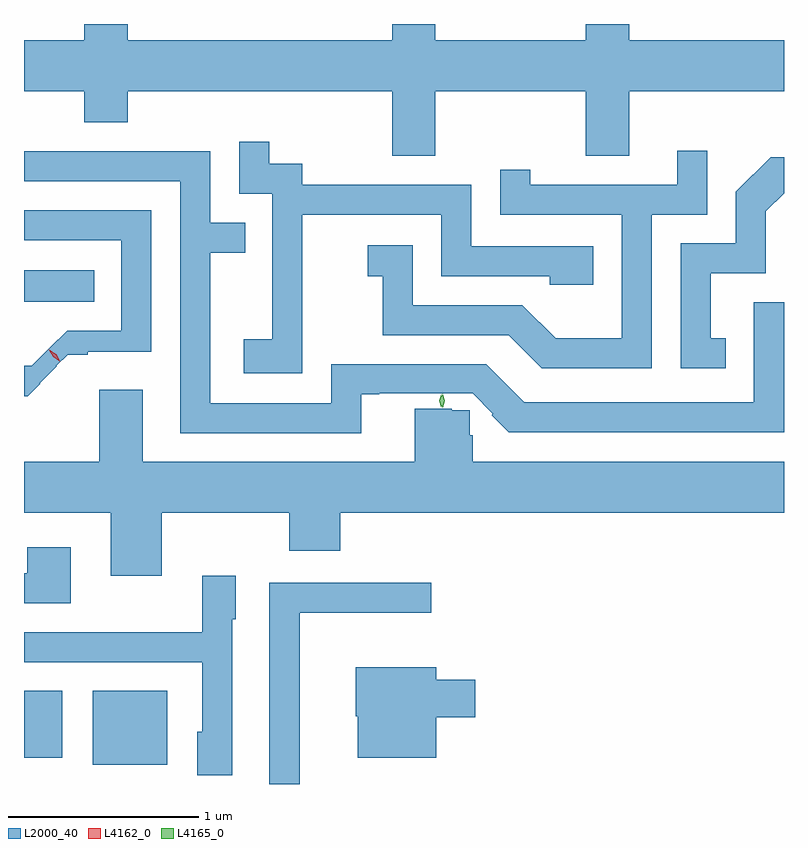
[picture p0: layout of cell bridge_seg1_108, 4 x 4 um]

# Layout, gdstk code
import gdstk
lib = gdstk.Library(unit=1e-6, precision=1e-09)
def R(c, l, rs):  # rectangles x0, y0, x1, y1
    for r in rs: c.add(gdstk.rectangle(r[:2], r[2:], *l))
def P(c, l, *ps):  # polygons
    for p in ps: c.add(gdstk.Polygon(p, *l))
L2000_40 = (2000, 40)
L4162_0 = (4162, 0)
L4165_0 = (4165, 0)

bridge_seg1_108 = lib.new_cell('bridge_seg1_108')
R(bridge_seg1_108, L2000_40, [(1386.966,902.691,1387.359,903.079), (1386.604,902.726,1386.804,903.079), (1386.604,905.126,1386.973,905.294)])
P(bridge_seg1_108, L2000_40, [(1388.769,906.236),(1389.561,906.236),(1389.561,905.896),(1389.789,905.896),(1389.789,906.236),(1390.604,906.236),(1390.604,906.504),(1389.789,906.504),(1389.789,906.589),(1389.561,906.589),(1389.561,906.504),(1388.769,906.504),(1388.769,906.589),(1388.541,906.589),(1388.541,906.504),(1387.149,906.504),(1387.149,906.589),(1386.921,906.589),(1386.921,906.504),(1386.604,906.504),(1386.604,906.236),(1386.921,906.236),(1386.921,906.071),(1387.149,906.071),(1387.149,906.236),(1388.541,906.236),(1388.541,905.896),(1388.769,905.896)],
  [(1388.069,905.586),(1388.801,905.586),(1388.801,905.261),(1389.371,905.261),(1389.371,905.216),(1389.599,905.216),(1389.599,905.419),(1388.959,905.419),(1388.959,905.744),(1388.069,905.744),(1388.069,905.854),(1387.894,905.854),(1387.894,905.968),(1387.736,905.968),(1387.736,905.696),(1387.911,905.696),(1387.911,904.929),(1387.761,904.929),(1387.761,904.751),(1388.069,904.751)],
  [(1389.909,905.586),(1390.199,905.586),(1390.199,905.923),(1390.041,905.923),(1390.041,905.744),(1389.269,905.744),(1389.269,905.823),(1389.111,905.823),(1389.111,905.586),(1389.751,905.586),(1389.751,904.934),(1389.402,904.934),(1389.227,905.109),(1388.649,905.109),(1388.649,905.424),(1388.413,905.424),(1388.413,905.261),(1388.491,905.261),(1388.491,904.951),(1389.154,904.951),(1389.329,904.776),(1389.909,904.776)],
  [(1388.379,904.641),(1388.475,904.641),(1388.475,904.645),(1388.966,904.645),(1389.072,904.539),(1389.065,904.531),(1389.155,904.441),(1390.604,904.441),(1390.604,905.124),(1390.446,905.124),(1390.446,904.599),(1389.237,904.599),(1389.037,904.799),(1388.221,904.799),(1388.221,904.594),(1387.584,904.594),(1387.584,905.386),(1387.768,905.386),(1387.768,905.544),(1387.584,905.544),(1387.584,905.919),(1386.604,905.919),(1386.604,905.761),(1387.426,905.761),(1387.426,904.436),(1388.379,904.436)],
  [(1390.298,904.934),(1390.219,904.934),(1390.219,905.276),(1390.509,905.276),(1390.509,905.604),(1390.604,905.698),(1390.604,905.889),(1390.534,905.889),(1390.351,905.707),(1390.351,905.434),(1390.061,905.434),(1390.061,904.776),(1390.298,904.776)],
  [(1386.689,904.695),(1386.687,904.698),(1386.777,904.789),(1386.775,904.79),(1386.833,904.848),(1386.94,904.848),(1386.94,904.863),(1387.274,904.863),(1387.274,905.609),(1386.604,905.609),(1386.604,905.451),(1387.116,905.451),(1387.116,904.974),(1386.831,904.974),(1386.738,904.882),(1386.737,904.883),(1386.646,904.791),(1386.604,904.791),(1386.604,904.631),(1386.625,904.631)],
  [(1387.329,904.016),(1388.001,904.016),(1388.001,903.816),(1388.269,903.816),(1388.269,904.016),(1390.604,904.016),(1390.604,904.284),(1388.965,904.284),(1388.965,904.425),(1388.951,904.425),(1388.951,904.557),(1388.855,904.557),(1388.855,904.564),(1388.661,904.564),(1388.661,904.284),(1387.229,904.284),(1387.229,904.664),(1387.001,904.664),(1387.001,904.284),(1386.604,904.284),(1386.604,904.016),(1387.061,904.016),(1387.061,903.686),(1387.329,903.686)],
  [(1386.849,903.834),(1386.621,903.834),(1386.621,903.699),(1386.604,903.699),(1386.604,903.541),(1386.849,903.541)],
  [(1387.699,903.456),(1387.719,903.456),(1387.719,903.684),(1387.541,903.684),(1387.541,903.389),(1386.604,903.389),(1386.604,903.231),(1387.541,903.231),(1387.541,902.864),(1387.516,902.864),(1387.516,902.636),(1387.699,902.636)],
  [(1388.054,903.491),(1388.748,903.491),(1388.748,903.649),(1387.896,903.649),(1387.896,902.589),(1388.054,902.589)],
  [(1388.774,902.941),(1388.979,902.941),(1388.979,903.139),(1388.774,903.139),(1388.774,903.204),(1388.351,903.204),(1388.351,902.945),(1388.361,902.945),(1388.361,902.726),(1388.774,902.726)])
P(bridge_seg1_108, L4162_0, [(1386.792,904.815),(1386.758,904.837),(1386.738,904.872),(1386.738,904.873),(1386.739,904.873),(1386.773,904.851),(1386.793,904.816),(1386.793,904.815)],
  [(1386.796,904.811),(1386.758,904.837),(1386.734,904.877),(1386.734,904.878),(1386.734,904.878),(1386.772,904.851),(1386.796,904.811),(1386.796,904.811)])
P(bridge_seg1_108, L4165_0, [(1388.809,904.568),(1388.808,904.569),(1388.798,904.605),(1388.808,904.641),(1388.808,904.642),(1388.809,904.641),(1388.818,904.605),(1388.809,904.569)],
  [(1388.799,904.571),(1388.799,904.572),(1388.789,904.605),(1388.799,904.639),(1388.799,904.64),(1388.8,904.639),(1388.809,904.605),(1388.8,904.572)])

lib.write_gds('bridge_seg1_108.gds')
